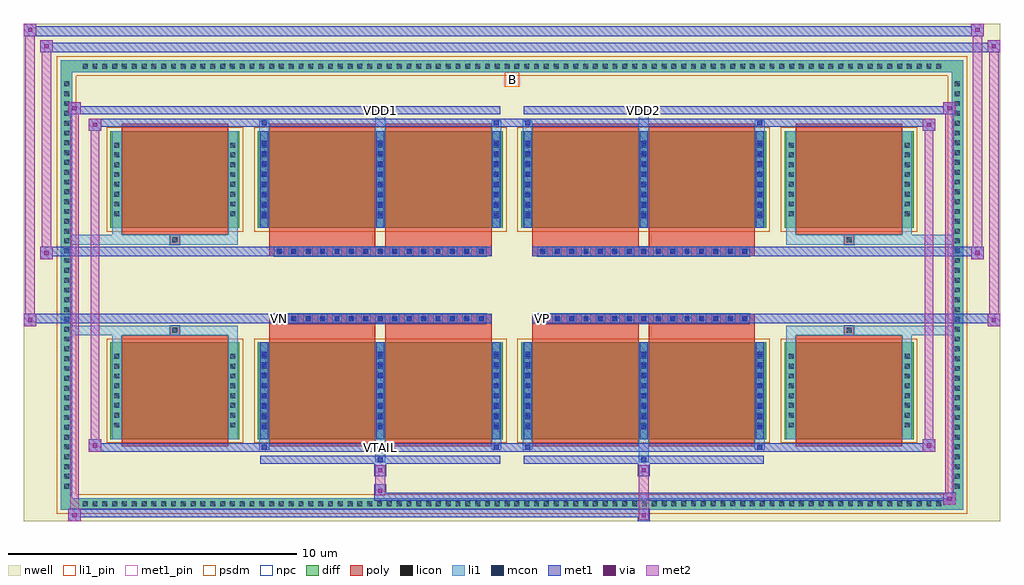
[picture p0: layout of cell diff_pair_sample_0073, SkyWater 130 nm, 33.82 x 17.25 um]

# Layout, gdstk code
import gdstk
lib = gdstk.Library(unit=1e-6, precision=5e-09)
def R(c, l, rs):  # rectangles x0, y0, x1, y1
    for r in rs: c.add(gdstk.rectangle(r[:2], r[2:], *l))
def A(c, l, x, y, w, h, nx, ny, dx, dy):  # array of equal rectangles
    R(c, l, [(x+i*dx, y+j*dy, x+i*dx+w, y+j*dy+h) for i in range(nx) for j in range(ny)])
def P(c, l, *ps):  # polygons
    for p in ps: c.add(gdstk.Polygon(p, *l))
nwell = (64, 20)
diff = (65, 20)
poly = (66, 20)
licon = (66, 44)
li1_pin = (67, 16)
li1 = (67, 20)
mcon = (67, 44)
met1_pin = (68, 16)
met1 = (68, 20)
via = (68, 44)
met2 = (69, 20)
psdm = (94, 20)
npc = (95, 20)

diff_pair_sample_0073 = lib.new_cell('diff_pair_sample_0073')
R(diff_pair_sample_0073, nwell, [(-16.91,-8.19,16.91,9.06), (-14.23,-6.38,-0.01,-0.8), (0.01,-6.38,14.23,-0.8), (-14.23,0.8,-0.01,6.38), (0.01,0.8,14.23,6.38)])
A(diff_pair_sample_0073, diff, -14.995, -7.79, 0.41, 0.41, 88, 2, 0.34, 15.17)
A(diff_pair_sample_0073, diff, -15.64, -7.175, 0.41, 0.41, 1, 42, 0, 0.34)
A(diff_pair_sample_0073, diff, 15.23, -7.175, 0.41, 0.41, 1, 42, 0, 0.34)
R(diff_pair_sample_0073, diff, [(-14.995,-7.79,14.995,-7.38), (-15.64,-7.175,-15.23,7.175), (15.23,-7.175,15.64,7.175), (-13.92,-5.335,-9.45,-1.985), (-8.81,-5.335,-0.32,-1.985), (0.32,-5.335,8.81,-1.985), (9.45,-5.335,13.92,-1.985), (-13.92,1.985,-9.45,5.335), (-8.81,1.985,-0.32,5.335), (0.32,1.985,8.81,5.335), (9.45,1.985,13.92,5.335), (-14.995,7.38,14.995,7.79)])
P(diff_pair_sample_0073, diff, [(15.64,7.79),(-15.64,7.79),(-15.64,-7.38),(-15.23,-7.38),(-15.23,7.38),(15.23,7.38),(15.23,-7.38),(-15.23,-7.38),(-15.64,-7.38),(-15.64,-7.79),(15.64,-7.79)])
A(diff_pair_sample_0073, poly, -8.23, -1.33, 0.33, 0.33, 15, 2, 0.5, 2.33)
A(diff_pair_sample_0073, poly, 0.9, -1.33, 0.33, 0.33, 15, 2, 0.5, 2.33)
R(diff_pair_sample_0073, poly, [(-13.53,-5.585,-9.84,-1.735), (-8.42,-5.585,-4.73,-1.735), (-4.4,-5.585,-0.71,-1.735), (0.71,-5.585,4.4,-1.735), (4.73,-5.585,8.42,-1.735), (9.84,-5.585,13.53,-1.735), (-11.85,-1.735,-11.52,-1.405), (-11.85,-1.735,-11.52,-1.405), (-8.42,-1.735,-4.73,-1.33), (-4.4,-1.735,-0.71,-1.33), (0.71,-1.735,4.4,-1.33), (4.73,-1.735,8.42,-1.33), (11.52,-1.735,11.85,-1.405), (11.52,-1.735,11.85,-1.405), (-8.42,-1.33,-0.71,-1), (0.71,-1.33,8.42,-1), (-8.42,1,-0.71,1.33), (0.71,1,8.42,1.33), (-8.42,1.33,-4.73,1.735), (-4.4,1.33,-0.71,1.735), (0.71,1.33,4.4,1.735), (4.73,1.33,8.42,1.735), (-11.85,1.405,-11.52,1.735), (-11.85,1.405,-11.52,1.735), (11.52,1.405,11.85,1.735), (11.52,1.405,11.85,1.735), (-13.53,1.735,-9.84,5.585), (-8.42,1.735,-4.73,5.585), (-4.4,1.735,-0.71,5.585), (0.71,1.735,4.4,5.585), (4.73,1.735,8.42,5.585), (9.84,1.735,13.53,5.585)])
A(diff_pair_sample_0073, licon, -14.875, -7.67, 0.17, 0.17, 88, 2, 0.34, 15.17)
A(diff_pair_sample_0073, licon, -15.52, -7.055, 0.17, 0.17, 1, 42, 0, 0.34)
A(diff_pair_sample_0073, licon, 15.35, -7.055, 0.17, 0.17, 1, 42, 0, 0.34)
A(diff_pair_sample_0073, licon, -13.78, -4.935, 0.17, 0.17, 1, 8, 0, 0.34)
A(diff_pair_sample_0073, licon, -9.76, -4.935, 0.17, 0.17, 1, 8, 0, 0.34)
A(diff_pair_sample_0073, licon, -8.67, -4.935, 0.17, 0.17, 3, 8, 4.02, 0.34)
A(diff_pair_sample_0073, licon, 0.46, -4.935, 0.17, 0.17, 3, 8, 4.02, 0.34)
A(diff_pair_sample_0073, licon, 9.59, -4.935, 0.17, 0.17, 1, 8, 0, 0.34)
A(diff_pair_sample_0073, licon, 13.61, -4.935, 0.17, 0.17, 1, 8, 0, 0.34)
A(diff_pair_sample_0073, licon, -8.15, -1.25, 0.17, 0.17, 15, 2, 0.5, 2.33)
A(diff_pair_sample_0073, licon, 0.98, -1.25, 0.17, 0.17, 15, 2, 0.5, 2.33)
A(diff_pair_sample_0073, licon, -13.78, 2.385, 0.17, 0.17, 1, 8, 0, 0.34)
A(diff_pair_sample_0073, licon, -9.76, 2.385, 0.17, 0.17, 1, 8, 0, 0.34)
A(diff_pair_sample_0073, licon, -8.67, 2.385, 0.17, 0.17, 3, 8, 4.02, 0.34)
A(diff_pair_sample_0073, licon, 0.46, 2.385, 0.17, 0.17, 3, 8, 4.02, 0.34)
A(diff_pair_sample_0073, licon, 9.59, 2.385, 0.17, 0.17, 1, 8, 0, 0.34)
A(diff_pair_sample_0073, licon, 13.61, 2.385, 0.17, 0.17, 1, 8, 0, 0.34)
R(diff_pair_sample_0073, licon, [(-11.77,-1.655,-11.6,-1.485), (11.6,-1.655,11.77,-1.485), (-11.77,1.485,-11.6,1.655), (11.6,1.485,11.77,1.655)])
R(diff_pair_sample_0073, li1_pin, [(-0.25,6.88,0.25,7.38)])
A(diff_pair_sample_0073, li1, -14.955, -7.75, 0.33, 0.33, 88, 2, 0.34, 15.17)
A(diff_pair_sample_0073, li1, -15.6, -7.135, 0.33, 0.33, 1, 42, 0, 0.34)
A(diff_pair_sample_0073, li1, 15.27, -7.135, 0.33, 0.33, 1, 42, 0, 0.34)
A(diff_pair_sample_0073, li1, -8.75, -5.335, 0.33, 3.35, 3, 2, 4.02, 7.32)
A(diff_pair_sample_0073, li1, 0.38, -5.335, 0.33, 3.35, 3, 2, 4.02, 7.32)
A(diff_pair_sample_0073, li1, -13.86, -5.015, 0.33, 0.33, 1, 8, 0, 0.34)
A(diff_pair_sample_0073, li1, -9.84, -5.015, 0.33, 0.33, 1, 8, 0, 0.34)
A(diff_pair_sample_0073, li1, -8.75, -5.015, 0.33, 0.33, 3, 8, 4.02, 0.34)
A(diff_pair_sample_0073, li1, 0.38, -5.015, 0.33, 0.33, 3, 8, 4.02, 0.34)
A(diff_pair_sample_0073, li1, 9.51, -5.015, 0.33, 0.33, 1, 8, 0, 0.34)
A(diff_pair_sample_0073, li1, 13.53, -5.015, 0.33, 0.33, 1, 8, 0, 0.34)
A(diff_pair_sample_0073, li1, -8.67, -5.005, 0.17, 0.17, 3, 8, 4.02, 0.36)
A(diff_pair_sample_0073, li1, -8.67, -5.005, 0.17, 2.69, 3, 2, 4.02, 7.32)
A(diff_pair_sample_0073, li1, 0.46, -5.005, 0.17, 0.17, 3, 8, 4.02, 0.36)
A(diff_pair_sample_0073, li1, 0.46, -5.005, 0.17, 2.69, 3, 2, 4.02, 7.32)
A(diff_pair_sample_0073, li1, -8.23, -1.33, 0.33, 0.33, 15, 2, 0.5, 2.33)
A(diff_pair_sample_0073, li1, 0.9, -1.33, 0.33, 0.33, 15, 2, 0.5, 2.33)
A(diff_pair_sample_0073, li1, -13.86, 2.305, 0.33, 0.33, 1, 8, 0, 0.34)
A(diff_pair_sample_0073, li1, -9.84, 2.305, 0.33, 0.33, 1, 8, 0, 0.34)
A(diff_pair_sample_0073, li1, -8.75, 2.305, 0.33, 0.33, 3, 8, 4.02, 0.34)
A(diff_pair_sample_0073, li1, 0.38, 2.305, 0.33, 0.33, 3, 8, 4.02, 0.34)
A(diff_pair_sample_0073, li1, 9.51, 2.305, 0.33, 0.33, 1, 8, 0, 0.34)
A(diff_pair_sample_0073, li1, 13.53, 2.305, 0.33, 0.33, 1, 8, 0, 0.34)
A(diff_pair_sample_0073, li1, -8.67, 2.315, 0.17, 0.17, 3, 8, 4.02, 0.36)
A(diff_pair_sample_0073, li1, 0.46, 2.315, 0.17, 0.17, 3, 8, 4.02, 0.36)
R(diff_pair_sample_0073, li1, [(-15.64,-7.79,-15.23,-7.38), (-15.64,-7.79,-15.23,-7.38), (-15.23,-7.79,15.23,-7.38), (15.23,-7.79,15.64,-7.38), (15.23,-7.79,15.64,-7.38), (-15.64,-7.38,-15.23,7.38), (15.23,-7.38,15.64,7.38), (-4.73,-6.14,-4.4,-5.335), (-4.65,-6.14,-4.48,-5.97), (4.4,-6.14,4.73,-5.335), (4.48,-6.14,4.65,-5.97), (-8.75,-5.71,-8.42,-5.335), (-8.67,-5.71,-8.5,-5.54), (-0.71,-5.71,-0.38,-5.335), (-0.63,-5.71,-0.46,-5.54), (0.38,-5.71,0.71,-5.335), (0.46,-5.71,0.63,-5.54), (8.42,-5.71,8.75,-5.335), (8.5,-5.71,8.67,-5.54), (-13.86,-5.335,-13.53,-1.985), (-9.84,-5.335,-9.51,-1.985), (9.51,-5.335,9.84,-1.985), (13.53,-5.335,13.86,-1.985), (-13.86,-1.985,-13.53,-1.405), (-9.84,-1.985,-9.51,-1.405), (9.51,-1.985,9.84,-1.405), (13.53,-1.985,13.86,-1.405), (-15.64,-1.735,-11.85,-1.405), (-13.86,-1.735,-11.85,-1.405), (-11.85,-1.735,-11.52,-1.405), (-11.52,-1.735,-9.51,-1.405), (9.51,-1.735,11.52,-1.405), (11.52,-1.735,11.85,-1.405), (11.52,-1.735,15.64,-1.405), (11.85,-1.735,13.86,-1.405), (-15.64,1.405,-11.85,1.735), (-13.86,1.405,-11.85,1.735), (-13.86,1.405,-13.53,1.985), (-11.85,1.405,-11.52,1.735), (-11.52,1.405,-9.51,1.735), (-9.84,1.405,-9.51,1.985), (9.51,1.405,11.52,1.735), (9.51,1.405,9.84,1.985), (11.52,1.405,11.85,1.735), (11.52,1.405,15.64,1.735), (11.85,1.405,13.86,1.735), (13.53,1.405,13.86,1.985), (-13.86,1.985,-13.53,5.335), (-9.84,1.985,-9.51,5.335), (9.51,1.985,9.84,5.335), (13.53,1.985,13.86,5.335), (-8.75,5.335,-8.42,5.71), (-4.73,5.335,-4.4,6.14), (-0.71,5.335,-0.38,5.71), (0.38,5.335,0.71,5.71), (4.4,5.335,4.73,6.14), (8.42,5.335,8.75,5.71), (-8.67,5.54,-8.5,5.71), (-0.63,5.54,-0.46,5.71), (0.46,5.54,0.63,5.71), (8.5,5.54,8.67,5.71), (-4.65,5.97,-4.48,6.14), (4.48,5.97,4.65,6.14), (-15.64,7.38,-15.23,7.79), (-15.64,7.38,-15.23,7.79), (-15.23,7.38,15.23,7.79), (15.23,7.38,15.64,7.79), (15.23,7.38,15.64,7.79)])
A(diff_pair_sample_0073, mcon, -8.67, -5.005, 0.17, 0.17, 3, 8, 4.02, 0.36)
A(diff_pair_sample_0073, mcon, 0.46, -5.005, 0.17, 0.17, 3, 8, 4.02, 0.36)
A(diff_pair_sample_0073, mcon, -8.15, -1.25, 0.17, 0.17, 15, 2, 0.5, 2.33)
A(diff_pair_sample_0073, mcon, 0.98, -1.25, 0.17, 0.17, 15, 2, 0.5, 2.33)
A(diff_pair_sample_0073, mcon, -8.67, 2.315, 0.17, 0.17, 3, 8, 4.02, 0.36)
A(diff_pair_sample_0073, mcon, 0.46, 2.315, 0.17, 0.17, 3, 8, 4.02, 0.36)
R(diff_pair_sample_0073, mcon, [(-4.65,-6.14,-4.48,-5.97), (4.48,-6.14,4.65,-5.97), (-8.67,-5.71,-8.5,-5.54), (-0.63,-5.71,-0.46,-5.54), (0.46,-5.71,0.63,-5.54), (8.5,-5.71,8.67,-5.54), (-8.67,5.54,-8.5,5.71), (-0.63,5.54,-0.46,5.71), (0.46,5.54,0.63,5.71), (8.5,5.54,8.67,5.71), (-4.65,5.97,-4.48,6.14), (4.48,5.97,4.65,6.14)])
R(diff_pair_sample_0073, met1_pin, [(-4.7,-5.75,-4.43,-5.48), (-8.2,-1.29,-7.93,-1.02), (0.93,-1.29,1.2,-1.02), (-4.7,5.93,-4.43,6.2), (4.43,5.93,4.7,6.2)])
A(diff_pair_sample_0073, met1, -8.73, -5.335, 0.29, 3.35, 3, 2, 4.02, 7.32)
A(diff_pair_sample_0073, met1, 0.4, -5.335, 0.29, 3.35, 3, 2, 4.02, 7.32)
A(diff_pair_sample_0073, met1, -8.73, -5.065, 0.29, 0.29, 3, 8, 4.02, 0.36)
A(diff_pair_sample_0073, met1, 0.4, -5.065, 0.29, 0.29, 3, 8, 4.02, 0.36)
A(diff_pair_sample_0073, met1, -8.21, -1.31, 0.29, 0.29, 15, 2, 0.5, 2.33)
A(diff_pair_sample_0073, met1, 0.92, -1.31, 0.29, 0.29, 15, 2, 0.5, 2.33)
A(diff_pair_sample_0073, met1, -8.73, 2.255, 0.29, 0.29, 3, 8, 4.02, 0.36)
A(diff_pair_sample_0073, met1, 0.4, 2.255, 0.29, 0.29, 3, 8, 4.02, 0.36)
R(diff_pair_sample_0073, met1, [(-15.37,-8.19,-14.94,-7.76), (4.35,-8.19,4.78,-7.76), (-15.37,-8.05,4.78,-7.76), (14.94,-7.62,15.37,-7.19), (-4.78,-7.48,15.37,-7.19), (-4.78,-7.34,-4.35,-6.91), (-4.78,-6.63,-4.35,-6.2), (4.35,-6.63,4.78,-6.2), (-8.73,-6.2,-0.4,-5.91), (-4.71,-6.2,-4.42,-5.91), (0.4,-6.2,8.73,-5.91), (4.42,-6.2,4.71,-5.91), (-14.66,-5.77,-14.23,-5.34), (-14.66,-5.77,-8.73,-5.48), (-8.73,-5.77,-8.44,-5.48), (-8.73,-5.77,-0.4,-5.48), (-0.69,-5.77,-0.4,-5.48), (-0.4,-5.77,0.4,-5.48), (0.4,-5.77,0.69,-5.48), (0.4,-5.77,8.73,-5.48), (8.44,-5.77,8.73,-5.48), (8.73,-5.77,14.66,-5.48), (14.23,-5.77,14.66,-5.34), (-16.91,-1.43,-16.48,-1), (16.48,-1.43,16.91,-1), (-16.91,-1.33,-0.71,-1), (-8.42,-1.33,-0.71,-1), (0.71,-1.33,8.42,-1), (0.71,-1.33,16.91,-1), (-16.34,0.9,-15.91,1.33), (15.91,0.9,16.34,1.33), (-16.34,1,-8.42,1.33), (-8.42,1,-0.71,1.33), (0.71,1,8.42,1.33), (8.42,1,16.34,1.33), (-14.66,5.34,-14.23,5.77), (14.23,5.34,14.66,5.77), (-14.66,5.48,-8.73,5.77), (-8.73,5.48,-8.44,5.77), (-8.73,5.48,-0.4,5.77), (-0.69,5.48,-0.4,5.77), (-0.4,5.48,0.4,5.77), (0.4,5.48,0.69,5.77), (0.4,5.48,8.73,5.77), (8.44,5.48,8.73,5.77), (8.73,5.48,14.66,5.77), (-15.37,5.91,-14.94,6.34), (-15.37,5.91,-8.73,6.2), (-8.73,5.91,-0.4,6.2), (-4.71,5.91,-4.42,6.2), (0.4,5.91,8.73,6.2), (4.42,5.91,4.71,6.2), (8.73,5.91,15.37,6.2), (14.94,5.91,15.37,6.34), (-16.34,8.06,-15.91,8.49), (-16.34,8.06,-14.23,8.39), (-14.23,8.06,14.23,8.39), (14.23,8.06,16.91,8.39), (16.48,8.06,16.91,8.49), (-16.91,8.63,-16.48,9.06), (-16.91,8.63,-14.23,8.96), (-14.23,8.63,14.23,8.96), (14.23,8.63,16.34,8.96), (15.91,8.63,16.34,9.06)])
R(diff_pair_sample_0073, via, [(-15.23,-8.05,-15.08,-7.9), (4.49,-8.05,4.64,-7.9), (15.08,-7.48,15.23,-7.33), (-4.64,-7.2,-4.49,-7.05), (-4.64,-6.49,-4.49,-6.34), (4.49,-6.49,4.64,-6.34), (-14.52,-5.63,-14.37,-5.48), (14.37,-5.63,14.52,-5.48), (-16.77,-1.29,-16.62,-1.14), (16.62,-1.29,16.77,-1.14), (-16.2,1.04,-16.05,1.19), (16.05,1.04,16.2,1.19), (-14.52,5.48,-14.37,5.63), (14.37,5.48,14.52,5.63), (-15.23,6.05,-15.08,6.2), (15.08,6.05,15.23,6.2), (-16.2,8.2,-16.05,8.35), (16.62,8.2,16.77,8.35), (-16.77,8.77,-16.62,8.92), (16.05,8.77,16.2,8.92)])
R(diff_pair_sample_0073, met2, [(-15.37,-8.19,-14.94,-7.76), (-15.3,-8.19,-15.01,6.34), (-15.01,-8.19,-14.94,-7.76), (-15.32,-8.14,-14.99,-7.81), (4.4,-8.14,4.73,-7.81), (4.4,-7.81,4.73,-6.58), (14.94,-7.62,15.37,-7.19), (15.01,-7.62,15.3,6.34), (15.3,-7.62,15.37,-7.19), (14.99,-7.57,15.32,-7.24), (-4.73,-7.29,-4.4,-6.96), (-4.73,-6.96,-4.4,-6.58), (-4.73,-6.58,-4.4,-6.25), (4.4,-6.58,4.73,-6.25), (-14.66,-5.77,-14.23,-5.34), (-14.59,-5.77,-14.3,5.77), (-14.3,-5.77,-14.23,-5.34), (14.23,-5.77,14.66,-5.34), (14.3,-5.77,14.59,5.77), (14.59,-5.77,14.66,-5.34), (-14.61,-5.72,-14.28,-5.39), (14.28,-5.72,14.61,-5.39), (-16.91,-1.43,-16.48,-1), (-16.86,-1.43,-16.53,9.06), (-16.53,-1.43,-16.48,-1), (16.48,-1.43,16.91,-1), (16.53,-1.43,16.86,8.49), (16.86,-1.43,16.91,-1), (-16.86,-1.38,-16.53,-1.05), (16.53,-1.38,16.86,-1.05), (-16.34,0.9,-15.91,1.33), (-16.29,0.9,-15.96,8.49), (-15.96,0.9,-15.91,1.33), (15.91,0.9,16.34,1.33), (15.96,0.9,16.29,9.06), (16.29,0.9,16.34,1.33), (-16.29,0.95,-15.96,1.28), (15.96,0.95,16.29,1.28), (-14.66,5.34,-14.23,5.77), (-14.3,5.34,-14.23,5.77), (14.23,5.34,14.66,5.77), (14.59,5.34,14.66,5.77), (-14.61,5.39,-14.28,5.72), (14.28,5.39,14.61,5.72), (-15.37,5.91,-14.94,6.34), (-15.01,5.91,-14.94,6.34), (14.94,5.91,15.37,6.34), (15.3,5.91,15.37,6.34), (-15.32,5.96,-14.99,6.29), (14.99,5.96,15.32,6.29), (-16.34,8.06,-15.91,8.49), (-15.96,8.06,-15.91,8.49), (16.48,8.06,16.91,8.49), (16.86,8.06,16.91,8.49), (-16.29,8.11,-15.96,8.44), (16.53,8.11,16.86,8.44), (-16.91,8.63,-16.48,9.06), (-16.53,8.63,-16.48,9.06), (15.91,8.63,16.34,9.06), (16.29,8.63,16.34,9.06), (-16.86,8.68,-16.53,9.01), (15.96,8.68,16.29,9.01)])
R(diff_pair_sample_0073, psdm, [(-14.05,-5.465,-9.32,-1.855), (-8.94,-5.465,-0.19,-1.855), (0.19,-5.465,8.94,-1.855), (9.32,-5.465,14.05,-1.855), (-14.05,1.855,-9.32,5.465), (-8.94,1.855,-0.19,5.465), (0.19,1.855,8.94,5.465), (9.32,1.855,14.05,5.465)])
P(diff_pair_sample_0073, psdm, [(15.77,7.92),(-15.77,7.92),(-15.77,-7.25),(-15.1,-7.25),(-15.1,7.25),(15.1,7.25),(15.1,-7.25),(-15.1,-7.25),(-15.77,-7.25),(-15.77,-7.92),(15.77,-7.92)])
A(diff_pair_sample_0073, npc, -8.25, -1.35, 0.37, 0.37, 15, 2, 0.5, 2.33)
A(diff_pair_sample_0073, npc, 0.88, -1.35, 0.37, 0.37, 15, 2, 0.5, 2.33)
R(diff_pair_sample_0073, npc, [(-11.87,-1.755,-11.5,-1.385), (11.5,-1.755,11.87,-1.385), (-8.25,-1.35,-7.38,-0.98), (-8.25,-1.35,-7.38,-0.98), (-7.75,-1.35,-6.88,-0.98), (-7.75,-1.35,-6.88,-0.98), (-7.25,-1.35,-6.38,-0.98), (-7.25,-1.35,-6.38,-0.98), (-6.75,-1.35,-5.88,-0.98), (-6.75,-1.35,-5.88,-0.98), (-6.25,-1.35,-5.38,-0.98), (-6.25,-1.35,-5.38,-0.98), (-5.75,-1.35,-4.88,-0.98), (-5.75,-1.35,-4.88,-0.98), (-5.25,-1.35,-4.38,-0.98), (-5.25,-1.35,-4.38,-0.98), (-4.75,-1.35,-3.88,-0.98), (-4.75,-1.35,-3.88,-0.98), (-4.25,-1.35,-3.38,-0.98), (-4.25,-1.35,-3.38,-0.98), (-3.75,-1.35,-2.88,-0.98), (-3.75,-1.35,-2.88,-0.98), (-3.25,-1.35,-2.38,-0.98), (-3.25,-1.35,-2.38,-0.98), (-2.75,-1.35,-1.88,-0.98), (-2.75,-1.35,-1.88,-0.98), (-2.25,-1.35,-1.38,-0.98), (-2.25,-1.35,-1.38,-0.98), (-1.75,-1.35,-0.88,-0.98), (-1.75,-1.35,-0.88,-0.98), (0.88,-1.35,1.75,-0.98), (0.88,-1.35,1.75,-0.98), (1.38,-1.35,2.25,-0.98), (1.38,-1.35,2.25,-0.98), (1.88,-1.35,2.75,-0.98), (1.88,-1.35,2.75,-0.98), (2.38,-1.35,3.25,-0.98), (2.38,-1.35,3.25,-0.98), (2.88,-1.35,3.75,-0.98), (2.88,-1.35,3.75,-0.98), (3.38,-1.35,4.25,-0.98), (3.38,-1.35,4.25,-0.98), (3.88,-1.35,4.75,-0.98), (3.88,-1.35,4.75,-0.98), (4.38,-1.35,5.25,-0.98), (4.38,-1.35,5.25,-0.98), (4.88,-1.35,5.75,-0.98), (4.88,-1.35,5.75,-0.98), (5.38,-1.35,6.25,-0.98), (5.38,-1.35,6.25,-0.98), (5.88,-1.35,6.75,-0.98), (5.88,-1.35,6.75,-0.98), (6.38,-1.35,7.25,-0.98), (6.38,-1.35,7.25,-0.98), (6.88,-1.35,7.75,-0.98), (6.88,-1.35,7.75,-0.98), (7.38,-1.35,8.25,-0.98), (7.38,-1.35,8.25,-0.98), (-8.25,0.98,-7.38,1.35), (-8.25,0.98,-7.38,1.35), (-7.75,0.98,-6.88,1.35), (-7.75,0.98,-6.88,1.35), (-7.25,0.98,-6.38,1.35), (-7.25,0.98,-6.38,1.35), (-6.75,0.98,-5.88,1.35), (-6.75,0.98,-5.88,1.35), (-6.25,0.98,-5.38,1.35), (-6.25,0.98,-5.38,1.35), (-5.75,0.98,-4.88,1.35), (-5.75,0.98,-4.88,1.35), (-5.25,0.98,-4.38,1.35), (-5.25,0.98,-4.38,1.35), (-4.75,0.98,-3.88,1.35), (-4.75,0.98,-3.88,1.35), (-4.25,0.98,-3.38,1.35), (-4.25,0.98,-3.38,1.35), (-3.75,0.98,-2.88,1.35), (-3.75,0.98,-2.88,1.35), (-3.25,0.98,-2.38,1.35), (-3.25,0.98,-2.38,1.35), (-2.75,0.98,-1.88,1.35), (-2.75,0.98,-1.88,1.35), (-2.25,0.98,-1.38,1.35), (-2.25,0.98,-1.38,1.35), (-1.75,0.98,-0.88,1.35), (-1.75,0.98,-0.88,1.35), (0.88,0.98,1.75,1.35), (0.88,0.98,1.75,1.35), (1.38,0.98,2.25,1.35), (1.38,0.98,2.25,1.35), (1.88,0.98,2.75,1.35), (1.88,0.98,2.75,1.35), (2.38,0.98,3.25,1.35), (2.38,0.98,3.25,1.35), (2.88,0.98,3.75,1.35), (2.88,0.98,3.75,1.35), (3.38,0.98,4.25,1.35), (3.38,0.98,4.25,1.35), (3.88,0.98,4.75,1.35), (3.88,0.98,4.75,1.35), (4.38,0.98,5.25,1.35), (4.38,0.98,5.25,1.35), (4.88,0.98,5.75,1.35), (4.88,0.98,5.75,1.35), (5.38,0.98,6.25,1.35), (5.38,0.98,6.25,1.35), (5.88,0.98,6.75,1.35), (5.88,0.98,6.75,1.35), (6.38,0.98,7.25,1.35), (6.38,0.98,7.25,1.35), (6.88,0.98,7.75,1.35), (6.88,0.98,7.75,1.35), (7.38,0.98,8.25,1.35), (7.38,0.98,8.25,1.35), (-11.87,1.385,-11.5,1.755), (11.5,1.385,11.87,1.755)])
diff_pair_sample_0073.add(gdstk.Label('VTAIL', (-4.565,-5.615), layer=68, texttype=5))
diff_pair_sample_0073.add(gdstk.Label('VN', (-8.065,-1.155), layer=68, texttype=5))
diff_pair_sample_0073.add(gdstk.Label('VP', (1.065,-1.155), layer=68, texttype=5))
diff_pair_sample_0073.add(gdstk.Label('B', (0,7.13), layer=67, texttype=5))
diff_pair_sample_0073.add(gdstk.Label('VDD2', (4.565,6.065), layer=68, texttype=5))
diff_pair_sample_0073.add(gdstk.Label('VDD1', (-4.565,6.065), layer=68, texttype=5))

lib.write_gds('diff_pair_sample_0073.gds')
